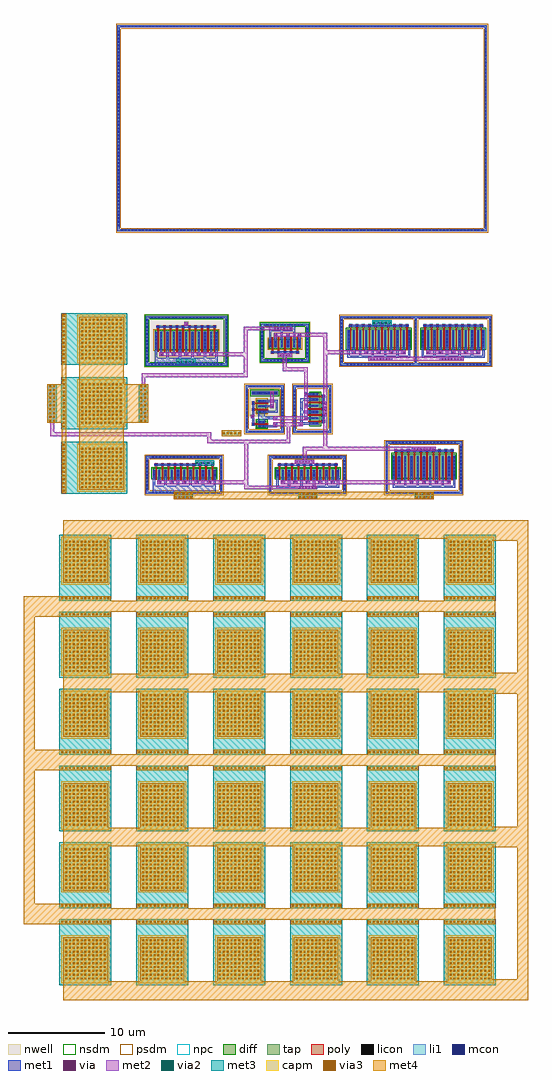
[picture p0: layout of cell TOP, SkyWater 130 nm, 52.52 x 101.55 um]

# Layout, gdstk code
from math import pi, radians
import gdstk
lib = gdstk.Library(unit=1e-6, precision=1e-09)
def R(c, l, rs):  # rectangles x0, y0, x1, y1
    for r in rs: c.add(gdstk.rectangle(r[:2], r[2:], *l))
def A(c, l, x, y, w, h, nx, ny, dx, dy):  # array of equal rectangles
    R(c, l, [(x+i*dx, y+j*dy, x+i*dx+w, y+j*dy+h) for i in range(nx) for j in range(ny)])
def P(c, l, *ps):  # polygons
    for p in ps: c.add(gdstk.Polygon(p, *l))
nwell = (64, 20)
diff = (65, 20)
tap = (65, 44)
poly = (66, 20)
licon = (66, 44)
li1 = (67, 20)
mcon = (67, 44)
met1 = (68, 20)
via = (68, 44)
met2 = (69, 20)
via2 = (69, 44)
met3 = (70, 20)
via3 = (70, 44)
met4 = (71, 20)
capm = (89, 44)
nsdm = (93, 44)
psdm = (94, 20)
npc = (95, 20)

guard_ring_gen_1 = lib.new_cell('guard_ring_gen$1')
P(guard_ring_gen_1, tap, [(-0.23,-0.23),(-0.23,7.5),(0,7.5),(0,0),(3.5,0),(3.5,7.5),(-0.23,7.5),(-0.23,7.73),(3.73,7.73),(3.73,-0.23)])
A(guard_ring_gen_1, licon, 0.225, -0.2, 0.17, 0.17, 9, 2, 0.36, 7.73)
A(guard_ring_gen_1, licon, -0.2, 0.425, 0.17, 0.17, 1, 19, 0, 0.36)
A(guard_ring_gen_1, licon, 3.53, 0.425, 0.17, 0.17, 1, 19, 0, 0.36)
P(guard_ring_gen_1, li1, [(-0.23,-0.23),(-0.23,7.5),(0,7.5),(0,0),(3.5,0),(3.5,7.5),(-0.23,7.5),(-0.23,7.73),(3.73,7.73),(3.73,-0.23)])
A(guard_ring_gen_1, mcon, 0.225, -0.2, 0.17, 0.17, 9, 2, 0.36, 7.73)
A(guard_ring_gen_1, mcon, -0.2, 0.425, 0.17, 0.17, 1, 19, 0, 0.36)
A(guard_ring_gen_1, mcon, 3.53, 0.425, 0.17, 0.17, 1, 19, 0, 0.36)
P(guard_ring_gen_1, met1, [(-0.23,-0.23),(-0.23,7.5),(0,7.5),(0,0),(3.5,0),(3.5,7.5),(-0.23,7.5),(-0.23,7.73),(3.73,7.73),(3.73,-0.23)])
P(guard_ring_gen_1, psdm, [(-0.355,-0.355),(-0.355,7.375),(0.125,7.375),(0.125,0.125),(3.375,0.125),(3.375,7.375),(-0.355,7.375),(-0.355,7.855),(3.855,7.855),(3.855,-0.355)])

pfet = lib.new_cell('pfet')
R(pfet, nwell, [(-0.305,-0.38,3.655,1.72)])
R(pfet, diff, [(0,0,3.35,1)])
A(pfet, poly, 0.3, -0.2, 0.15, 1.4, 5, 1, 0.65, 0)
A(pfet, poly, 0.24, 1.2, 0.27, 0.33, 5, 1, 0.65, 0)
A(pfet, licon, 0.615, 0.235, 0.17, 0.17, 4, 2, 0.65, 0.36)
A(pfet, licon, 0.29, 1.28, 0.17, 0.17, 5, 1, 0.65, 0)
R(pfet, licon, [(0.065,0.235,0.235,0.405), (3.115,0.235,3.285,0.405), (0.065,0.595,0.235,0.765), (3.115,0.595,3.285,0.765)])
A(pfet, li1, 0.615, 0.155, 0.17, 0.69, 4, 1, 0.65, 0)
A(pfet, li1, 0.21, 1.28, 0.33, 0.17, 5, 1, 0.65, 0)
R(pfet, li1, [(0.065,0.155,0.235,0.845), (3.115,0.155,3.285,0.845)])
A(pfet, mcon, 0.615, 0.235, 0.17, 0.17, 4, 2, 0.65, 0.36)
A(pfet, mcon, 0.29, 1.28, 0.17, 0.17, 5, 1, 0.65, 0)
R(pfet, mcon, [(0.065,0.235,0.235,0.405), (3.115,0.235,3.285,0.405), (0.065,0.595,0.235,0.765), (3.115,0.595,3.285,0.765)])
A(pfet, met1, 0.585, 0.175, 0.23, 0.65, 4, 1, 0.65, 0)
A(pfet, met1, 0.19, 1.25, 0.37, 0.23, 5, 1, 0.65, 0)
R(pfet, met1, [(0.035,0.175,0.265,0.825), (3.085,0.175,3.315,0.825)])
R(pfet, psdm, [(-0.125,-0.125,3.475,1.125)])
A(pfet, npc, 0.23, 1.19, 0.29, 0.35, 5, 1, 0.65, 0)

guard_ring_gen_2 = lib.new_cell('guard_ring_gen$2')
P(guard_ring_gen_2, tap, [(-0.23,-0.23),(-0.23,4.5),(0,4.5),(0,0),(3.5,0),(3.5,4.5),(-0.23,4.5),(-0.23,4.73),(3.73,4.73),(3.73,-0.23)])
A(guard_ring_gen_2, licon, 0.225, -0.2, 0.17, 0.17, 9, 2, 0.36, 4.73)
A(guard_ring_gen_2, licon, -0.2, 0.365, 0.17, 0.17, 1, 11, 0, 0.36)
A(guard_ring_gen_2, licon, 3.53, 0.365, 0.17, 0.17, 1, 11, 0, 0.36)
P(guard_ring_gen_2, li1, [(-0.23,-0.23),(-0.23,4.5),(0,4.5),(0,0),(3.5,0),(3.5,4.5),(-0.23,4.5),(-0.23,4.73),(3.73,4.73),(3.73,-0.23)])
A(guard_ring_gen_2, mcon, 0.225, -0.2, 0.17, 0.17, 9, 2, 0.36, 4.73)
A(guard_ring_gen_2, mcon, -0.2, 0.365, 0.17, 0.17, 1, 11, 0, 0.36)
A(guard_ring_gen_2, mcon, 3.53, 0.365, 0.17, 0.17, 1, 11, 0, 0.36)
P(guard_ring_gen_2, met1, [(-0.23,-0.23),(-0.23,4.5),(0,4.5),(0,0),(3.5,0),(3.5,4.5),(-0.23,4.5),(-0.23,4.73),(3.73,4.73),(3.73,-0.23)])
P(guard_ring_gen_2, nsdm, [(-0.355,-0.355),(-0.355,4.375),(0.125,4.375),(0.125,0.125),(3.375,0.125),(3.375,4.375),(-0.355,4.375),(-0.355,4.855),(3.855,4.855),(3.855,-0.355)])

vias_gen = lib.new_cell('vias_gen')
R(vias_gen, met1, [(0,0,0.4,0.4)])
R(vias_gen, via, [(0.125,0.125,0.275,0.275)])
R(vias_gen, met2, [(0,0,0.4,0.4)])

vias_gen_3 = lib.new_cell('vias_gen$3')
R(vias_gen_3, nwell, [(-0.18,-0.18,2.915,0.59)])
R(vias_gen_3, tap, [(0,0,2.735,0.41)])
A(vias_gen_3, licon, 0.09, 0.12, 0.17, 0.17, 8, 1, 0.34, 0)
R(vias_gen_3, li1, [(0,0,2.735,0.41)])
A(vias_gen_3, mcon, 0.2, 0.12, 0.17, 0.17, 7, 1, 0.36, 0)
R(vias_gen_3, met1, [(0,0,2.735,0.41)])
R(vias_gen_3, nsdm, [(-0.125,-0.125,2.86,0.535)])

guard_ring_gen = lib.new_cell('guard_ring_gen')
P(guard_ring_gen, tap, [(-0.23,-0.23),(-0.23,4.5),(0,4.5),(0,0),(3.5,0),(3.5,4.5),(-0.23,4.5),(-0.23,4.73),(3.73,4.73),(3.73,-0.23)])
A(guard_ring_gen, licon, 0.225, -0.2, 0.17, 0.17, 9, 2, 0.36, 4.73)
A(guard_ring_gen, licon, -0.2, 0.365, 0.17, 0.17, 1, 11, 0, 0.36)
A(guard_ring_gen, licon, 3.53, 0.365, 0.17, 0.17, 1, 11, 0, 0.36)
P(guard_ring_gen, li1, [(-0.23,-0.23),(-0.23,4.5),(0,4.5),(0,0),(3.5,0),(3.5,4.5),(-0.23,4.5),(-0.23,4.73),(3.73,4.73),(3.73,-0.23)])
A(guard_ring_gen, mcon, 0.225, -0.2, 0.17, 0.17, 9, 2, 0.36, 4.73)
A(guard_ring_gen, mcon, -0.2, 0.365, 0.17, 0.17, 1, 11, 0, 0.36)
A(guard_ring_gen, mcon, 3.53, 0.365, 0.17, 0.17, 1, 11, 0, 0.36)
P(guard_ring_gen, met1, [(-0.23,-0.23),(-0.23,4.5),(0,4.5),(0,0),(3.5,0),(3.5,4.5),(-0.23,4.5),(-0.23,4.73),(3.73,4.73),(3.73,-0.23)])
P(guard_ring_gen, psdm, [(-0.355,-0.355),(-0.355,4.375),(0.125,4.375),(0.125,0.125),(3.375,0.125),(3.375,4.375),(-0.355,4.375),(-0.355,4.855),(3.855,4.855),(3.855,-0.355)])

guard_ring_gen_8 = lib.new_cell('guard_ring_gen$8')
P(guard_ring_gen_8, tap, [(-0.23,-0.23),(-0.23,21),(0,21),(0,0),(38,0),(38,21),(-0.23,21),(-0.23,21.23),(38.23,21.23),(38.23,-0.23)])
A(guard_ring_gen_8, licon, 0.195, -0.2, 0.17, 0.17, 105, 2, 0.36, 21.23)
A(guard_ring_gen_8, licon, -0.2, 0.335, 0.17, 0.17, 1, 57, 0, 0.36)
A(guard_ring_gen_8, licon, 38.03, 0.335, 0.17, 0.17, 1, 57, 0, 0.36)
P(guard_ring_gen_8, li1, [(-0.23,-0.23),(-0.23,21),(0,21),(0,0),(38,0),(38,21),(-0.23,21),(-0.23,21.23),(38.23,21.23),(38.23,-0.23)])
A(guard_ring_gen_8, mcon, 0.195, -0.2, 0.17, 0.17, 105, 2, 0.36, 21.23)
A(guard_ring_gen_8, mcon, -0.2, 0.335, 0.17, 0.17, 1, 57, 0, 0.36)
A(guard_ring_gen_8, mcon, 38.03, 0.335, 0.17, 0.17, 1, 57, 0, 0.36)
P(guard_ring_gen_8, met1, [(-0.23,-0.23),(-0.23,21),(0,21),(0,0),(38,0),(38,21),(-0.23,21),(-0.23,21.23),(38.23,21.23),(38.23,-0.23)])
P(guard_ring_gen_8, psdm, [(-0.355,-0.355),(-0.355,20.875),(0.125,20.875),(0.125,0.125),(37.875,0.125),(37.875,20.875),(-0.355,20.875),(-0.355,21.355),(38.355,21.355),(38.355,-0.355)])

nfet_5 = lib.new_cell('nfet$5')
R(nfet_5, diff, [(0,0,6.6,2)])
A(nfet_5, poly, 0.3, -0.2, 0.15, 2.4, 10, 1, 0.65, 0)
A(nfet_5, poly, 0.24, 2.2, 0.27, 0.33, 10, 1, 0.65, 0)
A(nfet_5, licon, 0.065, 0.195, 0.17, 0.17, 1, 5, 0, 0.36)
A(nfet_5, licon, 0.615, 0.195, 0.17, 0.17, 9, 5, 0.65, 0.36)
A(nfet_5, licon, 6.365, 0.195, 0.17, 0.17, 1, 5, 0, 0.36)
A(nfet_5, licon, 0.29, 2.28, 0.17, 0.17, 10, 1, 0.65, 0)
A(nfet_5, li1, 0.615, 0.115, 0.17, 1.77, 9, 1, 0.65, 0)
A(nfet_5, li1, 0.21, 2.28, 0.33, 0.17, 10, 1, 0.65, 0)
R(nfet_5, li1, [(0.065,0.115,0.235,1.885), (6.365,0.115,6.535,1.885)])
A(nfet_5, mcon, 0.065, 0.195, 0.17, 0.17, 1, 5, 0, 0.36)
A(nfet_5, mcon, 0.615, 0.195, 0.17, 0.17, 9, 5, 0.65, 0.36)
A(nfet_5, mcon, 6.365, 0.195, 0.17, 0.17, 1, 5, 0, 0.36)
A(nfet_5, mcon, 0.29, 2.28, 0.17, 0.17, 10, 1, 0.65, 0)
A(nfet_5, met1, 0.585, 0.135, 0.23, 1.73, 9, 1, 0.65, 0)
A(nfet_5, met1, 0.19, 2.25, 0.37, 0.23, 10, 1, 0.65, 0)
R(nfet_5, met1, [(0.035,0.135,0.265,1.865), (6.335,0.135,6.565,1.865)])
R(nfet_5, nsdm, [(-0.125,-0.125,6.725,2.125)])
A(nfet_5, npc, 0.23, 2.19, 0.29, 0.35, 10, 1, 0.65, 0)

nfet_4 = lib.new_cell('nfet$4')
R(nfet_4, diff, [(0,0,6.6,2.5)])
A(nfet_4, poly, 0.3, -0.2, 0.15, 2.9, 10, 1, 0.65, 0)
A(nfet_4, poly, 0.24, 2.7, 0.27, 0.33, 10, 1, 0.65, 0)
A(nfet_4, licon, 0.065, 0.265, 0.17, 0.17, 1, 6, 0, 0.36)
A(nfet_4, licon, 0.615, 0.265, 0.17, 0.17, 9, 6, 0.65, 0.36)
A(nfet_4, licon, 6.365, 0.265, 0.17, 0.17, 1, 6, 0, 0.36)
A(nfet_4, licon, 0.29, 2.78, 0.17, 0.17, 10, 1, 0.65, 0)
A(nfet_4, li1, 0.615, 0.185, 0.17, 2.13, 9, 1, 0.65, 0)
A(nfet_4, li1, 0.21, 2.78, 0.33, 0.17, 10, 1, 0.65, 0)
R(nfet_4, li1, [(0.065,0.185,0.235,2.315), (6.365,0.185,6.535,2.315)])
A(nfet_4, mcon, 0.065, 0.265, 0.17, 0.17, 1, 6, 0, 0.36)
A(nfet_4, mcon, 0.615, 0.265, 0.17, 0.17, 9, 6, 0.65, 0.36)
A(nfet_4, mcon, 6.365, 0.265, 0.17, 0.17, 1, 6, 0, 0.36)
A(nfet_4, mcon, 0.29, 2.78, 0.17, 0.17, 10, 1, 0.65, 0)
A(nfet_4, met1, 0.585, 0.205, 0.23, 2.09, 9, 1, 0.65, 0)
A(nfet_4, met1, 0.19, 2.75, 0.37, 0.23, 10, 1, 0.65, 0)
R(nfet_4, met1, [(0.035,0.205,0.265,2.295), (6.335,0.205,6.565,2.295)])
R(nfet_4, nsdm, [(-0.125,-0.125,6.725,2.625)])
A(nfet_4, npc, 0.23, 2.69, 0.29, 0.35, 10, 1, 0.65, 0)

guard_ring_gen_4 = lib.new_cell('guard_ring_gen$4')
P(guard_ring_gen_4, tap, [(-0.23,-0.23),(-0.23,7.5),(0,7.5),(0,0),(5,0),(5,7.5),(-0.23,7.5),(-0.23,7.73),(5.23,7.73),(5.23,-0.23)])
A(guard_ring_gen_4, licon, 0.255, -0.2, 0.17, 0.17, 13, 2, 0.36, 7.73)
A(guard_ring_gen_4, licon, -0.2, 0.425, 0.17, 0.17, 1, 19, 0, 0.36)
A(guard_ring_gen_4, licon, 5.03, 0.425, 0.17, 0.17, 1, 19, 0, 0.36)
P(guard_ring_gen_4, li1, [(-0.23,-0.23),(-0.23,7.5),(0,7.5),(0,0),(5,0),(5,7.5),(-0.23,7.5),(-0.23,7.73),(5.23,7.73),(5.23,-0.23)])
A(guard_ring_gen_4, mcon, 0.255, -0.2, 0.17, 0.17, 13, 2, 0.36, 7.73)
A(guard_ring_gen_4, mcon, -0.2, 0.425, 0.17, 0.17, 1, 19, 0, 0.36)
A(guard_ring_gen_4, mcon, 5.03, 0.425, 0.17, 0.17, 1, 19, 0, 0.36)
P(guard_ring_gen_4, met1, [(-0.23,-0.23),(-0.23,7.5),(0,7.5),(0,0),(5,0),(5,7.5),(-0.23,7.5),(-0.23,7.73),(5.23,7.73),(5.23,-0.23)])
P(guard_ring_gen_4, psdm, [(-0.355,-0.355),(-0.355,7.375),(0.125,7.375),(0.125,0.125),(4.875,0.125),(4.875,7.375),(-0.355,7.375),(-0.355,7.855),(5.355,7.855),(5.355,-0.355)])

vias_gen_2 = lib.new_cell('vias_gen$2')
R(vias_gen_2, met1, [(0,0,2,0.4)])
A(vias_gen_2, via, 0.125, 0.125, 0.15, 0.15, 6, 1, 0.32, 0)
R(vias_gen_2, met2, [(0,0,2,0.4)])

nfet = lib.new_cell('nfet')
R(nfet, diff, [(0,0,3.35,1)])
A(nfet, poly, 0.3, -0.2, 0.15, 1.4, 5, 1, 0.65, 0)
A(nfet, poly, 0.24, 1.2, 0.27, 0.33, 5, 1, 0.65, 0)
A(nfet, licon, 0.615, 0.235, 0.17, 0.17, 4, 2, 0.65, 0.36)
A(nfet, licon, 0.29, 1.28, 0.17, 0.17, 5, 1, 0.65, 0)
R(nfet, licon, [(0.065,0.235,0.235,0.405), (3.115,0.235,3.285,0.405), (0.065,0.595,0.235,0.765), (3.115,0.595,3.285,0.765)])
A(nfet, li1, 0.615, 0.155, 0.17, 0.69, 4, 1, 0.65, 0)
A(nfet, li1, 0.21, 1.28, 0.33, 0.17, 5, 1, 0.65, 0)
R(nfet, li1, [(0.065,0.155,0.235,0.845), (3.115,0.155,3.285,0.845)])
A(nfet, mcon, 0.615, 0.235, 0.17, 0.17, 4, 2, 0.65, 0.36)
A(nfet, mcon, 0.29, 1.28, 0.17, 0.17, 5, 1, 0.65, 0)
R(nfet, mcon, [(0.065,0.235,0.235,0.405), (3.115,0.235,3.285,0.405), (0.065,0.595,0.235,0.765), (3.115,0.595,3.285,0.765)])
A(nfet, met1, 0.585, 0.175, 0.23, 0.65, 4, 1, 0.65, 0)
A(nfet, met1, 0.19, 1.25, 0.37, 0.23, 5, 1, 0.65, 0)
R(nfet, met1, [(0.035,0.175,0.265,0.825), (3.085,0.175,3.315,0.825)])
R(nfet, nsdm, [(-0.125,-0.125,3.475,1.125)])
A(nfet, npc, 0.23, 1.19, 0.29, 0.35, 5, 1, 0.65, 0)

guard_ring_gen_5 = lib.new_cell('guard_ring_gen$5')
P(guard_ring_gen_5, tap, [(-0.23,-0.23),(-0.23,7.5),(0,7.5),(0,0),(4.7,0),(4.7,7.5),(-0.23,7.5),(-0.23,7.73),(4.93,7.73),(4.93,-0.23)])
A(guard_ring_gen_5, licon, 0.105, -0.2, 0.17, 0.17, 13, 2, 0.36, 7.73)
A(guard_ring_gen_5, licon, -0.2, 0.425, 0.17, 0.17, 1, 19, 0, 0.36)
A(guard_ring_gen_5, licon, 4.73, 0.425, 0.17, 0.17, 1, 19, 0, 0.36)
P(guard_ring_gen_5, li1, [(-0.23,-0.23),(-0.23,7.5),(0,7.5),(0,0),(4.7,0),(4.7,7.5),(-0.23,7.5),(-0.23,7.73),(4.93,7.73),(4.93,-0.23)])
A(guard_ring_gen_5, mcon, 0.105, -0.2, 0.17, 0.17, 13, 2, 0.36, 7.73)
A(guard_ring_gen_5, mcon, -0.2, 0.425, 0.17, 0.17, 1, 19, 0, 0.36)
A(guard_ring_gen_5, mcon, 4.73, 0.425, 0.17, 0.17, 1, 19, 0, 0.36)
P(guard_ring_gen_5, met1, [(-0.23,-0.23),(-0.23,7.5),(0,7.5),(0,0),(4.7,0),(4.7,7.5),(-0.23,7.5),(-0.23,7.73),(4.93,7.73),(4.93,-0.23)])
P(guard_ring_gen_5, psdm, [(-0.355,-0.355),(-0.355,7.375),(0.125,7.375),(0.125,0.125),(4.575,0.125),(4.575,7.375),(-0.355,7.375),(-0.355,7.855),(5.055,7.855),(5.055,-0.355)])

vias_gen_4 = lib.new_cell('vias_gen$4')
R(vias_gen_4, met1, [(0,0,1.5,0.4)])
A(vias_gen_4, via, 0.195, 0.125, 0.15, 0.15, 4, 1, 0.32, 0)
R(vias_gen_4, met2, [(0,0,1.5,0.4)])

vias_gen_5 = lib.new_cell('vias_gen$5')
R(vias_gen_5, met1, [(0,0,2.5,0.4)])
A(vias_gen_5, via, 0.215, 0.125, 0.15, 0.15, 7, 1, 0.32, 0)
R(vias_gen_5, met2, [(0,0,2.5,0.4)])

nfet_3 = lib.new_cell('nfet$3')
R(nfet_3, diff, [(0,0,6.6,1)])
A(nfet_3, poly, 0.3, -0.2, 0.15, 1.4, 10, 1, 0.65, 0)
A(nfet_3, poly, 0.24, 1.2, 0.27, 0.33, 10, 1, 0.65, 0)
A(nfet_3, licon, 0.615, 0.235, 0.17, 0.17, 9, 2, 0.65, 0.36)
A(nfet_3, licon, 0.29, 1.28, 0.17, 0.17, 10, 1, 0.65, 0)
R(nfet_3, licon, [(0.065,0.235,0.235,0.405), (6.365,0.235,6.535,0.405), (0.065,0.595,0.235,0.765), (6.365,0.595,6.535,0.765)])
A(nfet_3, li1, 0.615, 0.155, 0.17, 0.69, 9, 1, 0.65, 0)
A(nfet_3, li1, 0.21, 1.28, 0.33, 0.17, 10, 1, 0.65, 0)
R(nfet_3, li1, [(0.065,0.155,0.235,0.845), (6.365,0.155,6.535,0.845)])
A(nfet_3, mcon, 0.615, 0.235, 0.17, 0.17, 9, 2, 0.65, 0.36)
A(nfet_3, mcon, 0.29, 1.28, 0.17, 0.17, 10, 1, 0.65, 0)
R(nfet_3, mcon, [(0.065,0.235,0.235,0.405), (6.365,0.235,6.535,0.405), (0.065,0.595,0.235,0.765), (6.365,0.595,6.535,0.765)])
A(nfet_3, met1, 0.585, 0.175, 0.23, 0.65, 9, 1, 0.65, 0)
A(nfet_3, met1, 0.19, 1.25, 0.37, 0.23, 10, 1, 0.65, 0)
R(nfet_3, met1, [(0.035,0.175,0.265,0.825), (6.335,0.175,6.565,0.825)])
R(nfet_3, nsdm, [(-0.125,-0.125,6.725,1.125)])
A(nfet_3, npc, 0.23, 1.19, 0.29, 0.35, 10, 1, 0.65, 0)

vias_gen_8 = lib.new_cell('vias_gen$8')
R(vias_gen_8, met1, [(0,0,2,0.6)])
A(vias_gen_8, via, 0.125, 0.225, 0.15, 0.15, 6, 1, 0.32, 0)
R(vias_gen_8, met2, [(0,0,2,0.6)])
A(vias_gen_8, via2, 0.1, 0.2, 0.2, 0.2, 5, 1, 0.4, 0)
R(vias_gen_8, met3, [(0,0,2,0.6)])

vias_gen_10 = lib.new_cell('vias_gen$10')
R(vias_gen_10, met1, [(0,0,2,0.8)])
A(vias_gen_10, via, 0.125, 0.165, 0.15, 0.15, 6, 2, 0.32, 0.32)
R(vias_gen_10, met2, [(0,0,2,0.8)])
A(vias_gen_10, via2, 0.1, 0.1, 0.2, 0.2, 5, 2, 0.4, 0.4)
R(vias_gen_10, met3, [(0,0,2,0.8)])
A(vias_gen_10, via3, 0.1, 0.1, 0.2, 0.2, 5, 2, 0.4, 0.4)
R(vias_gen_10, met4, [(0,0,2,0.8)])

mim_cap_3 = lib.new_cell('mim_cap$3')
R(mim_cap_3, met3, [(-0.2,-0.2,6.66,5.2)])
A(mim_cap_3, via3, 6.3, 0, 0.2, 0.2, 1, 13, 0, 0.4)
A(mim_cap_3, via3, 0.4, 0.4, 0.2, 0.2, 11, 11, 0.4, 0.4)
R(mim_cap_3, met4, [(6.16,-0.14,6.64,5.14), (0.195,0.195,4.805,4.805)])
R(mim_cap_3, capm, [(0,0,5,5)])

vias_gen_6 = lib.new_cell('vias_gen$6')
R(vias_gen_6, met2, [(0,0,4,1)])
A(vias_gen_6, via2, 0.1, 0.2, 0.2, 0.2, 10, 2, 0.4, 0.4)
R(vias_gen_6, met3, [(0,0,4,1)])
A(vias_gen_6, via3, 0.1, 0.2, 0.2, 0.2, 10, 2, 0.4, 0.4)
R(vias_gen_6, met4, [(0,0,4,1)])

pfet_1 = lib.new_cell('pfet$1')
R(pfet_1, nwell, [(-0.305,-0.38,6.905,2.72)])
R(pfet_1, diff, [(0,0,6.6,2)])
A(pfet_1, poly, 0.3, -0.2, 0.15, 2.4, 10, 1, 0.65, 0)
A(pfet_1, poly, 0.24, 2.2, 0.27, 0.33, 10, 1, 0.65, 0)
A(pfet_1, licon, 0.065, 0.195, 0.17, 0.17, 1, 5, 0, 0.36)
A(pfet_1, licon, 0.615, 0.195, 0.17, 0.17, 9, 5, 0.65, 0.36)
A(pfet_1, licon, 6.365, 0.195, 0.17, 0.17, 1, 5, 0, 0.36)
A(pfet_1, licon, 0.29, 2.28, 0.17, 0.17, 10, 1, 0.65, 0)
A(pfet_1, li1, 0.615, 0.115, 0.17, 1.77, 9, 1, 0.65, 0)
A(pfet_1, li1, 0.21, 2.28, 0.33, 0.17, 10, 1, 0.65, 0)
R(pfet_1, li1, [(0.065,0.115,0.235,1.885), (6.365,0.115,6.535,1.885)])
A(pfet_1, mcon, 0.065, 0.195, 0.17, 0.17, 1, 5, 0, 0.36)
A(pfet_1, mcon, 0.615, 0.195, 0.17, 0.17, 9, 5, 0.65, 0.36)
A(pfet_1, mcon, 6.365, 0.195, 0.17, 0.17, 1, 5, 0, 0.36)
A(pfet_1, mcon, 0.29, 2.28, 0.17, 0.17, 10, 1, 0.65, 0)
A(pfet_1, met1, 0.585, 0.135, 0.23, 1.73, 9, 1, 0.65, 0)
A(pfet_1, met1, 0.19, 2.25, 0.37, 0.23, 10, 1, 0.65, 0)
R(pfet_1, met1, [(0.035,0.135,0.265,1.865), (6.335,0.135,6.565,1.865)])
R(pfet_1, psdm, [(-0.125,-0.125,6.725,2.125)])
A(pfet_1, npc, 0.23, 2.19, 0.29, 0.35, 10, 1, 0.65, 0)

guard_ring_gen_3 = lib.new_cell('guard_ring_gen$3')
P(guard_ring_gen_3, tap, [(-0.23,-0.23),(-0.23,8),(0,8),(0,0),(4.7,0),(4.7,8),(-0.23,8),(-0.23,8.23),(4.93,8.23),(4.93,-0.23)])
A(guard_ring_gen_3, licon, 0.105, -0.2, 0.17, 0.17, 13, 2, 0.36, 8.23)
A(guard_ring_gen_3, licon, -0.2, 0.315, 0.17, 0.17, 1, 21, 0, 0.36)
A(guard_ring_gen_3, licon, 4.73, 0.315, 0.17, 0.17, 1, 21, 0, 0.36)
P(guard_ring_gen_3, li1, [(-0.23,-0.23),(-0.23,8),(0,8),(0,0),(4.7,0),(4.7,8),(-0.23,8),(-0.23,8.23),(4.93,8.23),(4.93,-0.23)])
A(guard_ring_gen_3, mcon, 0.105, -0.2, 0.17, 0.17, 13, 2, 0.36, 8.23)
A(guard_ring_gen_3, mcon, -0.2, 0.315, 0.17, 0.17, 1, 21, 0, 0.36)
A(guard_ring_gen_3, mcon, 4.73, 0.315, 0.17, 0.17, 1, 21, 0, 0.36)
P(guard_ring_gen_3, met1, [(-0.23,-0.23),(-0.23,8),(0,8),(0,0),(4.7,0),(4.7,8),(-0.23,8),(-0.23,8.23),(4.93,8.23),(4.93,-0.23)])
P(guard_ring_gen_3, nsdm, [(-0.355,-0.355),(-0.355,7.875),(0.125,7.875),(0.125,0.125),(4.575,0.125),(4.575,7.875),(-0.355,7.875),(-0.355,8.355),(5.055,8.355),(5.055,-0.355)])

pfet_3 = lib.new_cell('pfet$3')
R(pfet_3, nwell, [(-0.305,-0.38,1.705,1.72)])
R(pfet_3, diff, [(0,0,1.4,1)])
R(pfet_3, poly, [(0.3,-0.2,0.45,1.2), (0.95,-0.2,1.1,1.2), (0.24,1.2,0.51,1.53), (0.89,1.2,1.16,1.53)])
A(pfet_3, licon, 0.065, 0.235, 0.17, 0.17, 3, 2, 0.55, 0.36)
R(pfet_3, licon, [(0.29,1.28,0.46,1.45), (0.94,1.28,1.11,1.45)])
A(pfet_3, li1, 0.065, 0.155, 0.17, 0.69, 3, 1, 0.55, 0)
R(pfet_3, li1, [(0.21,1.28,0.54,1.45), (0.86,1.28,1.19,1.45)])
A(pfet_3, mcon, 0.065, 0.235, 0.17, 0.17, 3, 2, 0.55, 0.36)
R(pfet_3, mcon, [(0.29,1.28,0.46,1.45), (0.94,1.28,1.11,1.45)])
A(pfet_3, met1, 0.035, 0.175, 0.23, 0.65, 3, 1, 0.55, 0)
R(pfet_3, met1, [(0.19,1.25,0.56,1.48), (0.84,1.25,1.21,1.48)])
R(pfet_3, psdm, [(-0.125,-0.125,1.525,1.125)])
R(pfet_3, npc, [(0.23,1.19,0.52,1.54), (0.88,1.19,1.17,1.54)])

nfet_1 = lib.new_cell('nfet$1')
R(nfet_1, diff, [(0,0,0.75,1)])
R(nfet_1, poly, [(0.3,-0.2,0.45,1.2), (0.24,1.2,0.51,1.53)])
R(nfet_1, licon, [(0.065,0.235,0.235,0.405), (0.515,0.235,0.685,0.405), (0.065,0.595,0.235,0.765), (0.515,0.595,0.685,0.765), (0.29,1.28,0.46,1.45)])
R(nfet_1, li1, [(0.065,0.155,0.235,0.845), (0.515,0.155,0.685,0.845), (0.21,1.28,0.54,1.45)])
R(nfet_1, mcon, [(0.065,0.235,0.235,0.405), (0.515,0.235,0.685,0.405), (0.065,0.595,0.235,0.765), (0.515,0.595,0.685,0.765), (0.29,1.28,0.46,1.45)])
R(nfet_1, met1, [(0.035,0.175,0.265,0.825), (0.485,0.175,0.715,0.825), (0.19,1.25,0.56,1.48)])
R(nfet_1, nsdm, [(-0.125,-0.125,0.875,1.125)])
R(nfet_1, npc, [(0.23,1.19,0.52,1.54)])

vias_gen_11 = lib.new_cell('vias_gen$11')
R(vias_gen_11, met3, [(0,0,2,0.6)])
A(vias_gen_11, via3, 0.1, 0.2, 0.2, 0.2, 5, 1, 0.4, 0)
R(vias_gen_11, met4, [(0,0,2,0.6)])

top = lib.new_cell('TOP')
R(top, nwell, [(3.75,-1.05,6.845,1.73), (-7.23,4.03,1.56,9.52), (4.755,4.46,10.055,8.75)])
A(top, met1, -5.135, -8.51, 0.23, 1.2, 4, 1, 1.3, 0)
A(top, met1, 7.7, -8.51, 0.23, 1.2, 4, 1, 1.3, 0)
A(top, met1, 19.795, -8.51, 0.23, 1.2, 4, 1, 1.3, 0)
A(top, met1, -5.785, -7.73, 0.23, 0.42, 5, 1, 1.3, 0)
A(top, met1, 7.05, -7.73, 0.23, 0.42, 5, 1, 1.3, 0)
A(top, met1, 19.145, -7.73, 0.23, 0.42, 5, 1, 1.3, 0)
A(top, met1, -4.93, 4.795, 0.23, 1.2, 4, 1, 1.3, 0)
A(top, met1, 15.105, 4.995, 0.23, 1.2, 4, 1, 1.3, 0)
A(top, met1, 22.835, 4.995, 0.23, 1.2, 4, 1, 1.3, 0)
A(top, met1, -5.58, 5.575, 0.23, 0.42, 5, 1, 1.3, 0)
A(top, met1, 14.455, 5.775, 0.23, 0.42, 5, 1, 1.3, 0)
A(top, met1, 22.185, 5.775, 0.23, 0.42, 5, 1, 1.3, 0)
R(top, met1, [(-6.335,-9.15,0.195,-8.51), (-6.335,-8.51,0.195,-8.28), (-6.335,-8.51,-6.105,-7.31), (-6.335,-8.51,-4.905,-8.28), (-0.035,-8.51,0.195,-7.31), (6.5,-8.51,13.03,-8.28), (6.5,-8.51,6.73,-7.31), (6.5,-8.51,7.93,-8.28), (12.8,-8.51,13.03,-7.31), (18.595,-8.51,25.125,-8.28), (18.595,-8.51,18.825,-7.31), (18.595,-8.51,20.025,-8.28), (24.895,-8.51,25.125,-7.31), (-6.18,-6.235,0.04,-6.005), (6.655,-6.235,12.875,-6.005), (18.75,-4.765,24.97,-4.535), (4.645,-2.23,6.19,-2), (6.19,-2.23,6.59,-2), (9.01,-1.945,9.24,0.785), (9.01,-1.945,10.21,-1.715), (11.285,-1.79,11.515,1.18), (3.99,-1.705,4.22,-0.555), (4.645,-1.55,5.295,-0.71), (9.79,-1.395,10.21,-1.165), (4.645,-1.375,6.19,-1.145), (9.01,-0.745,10.21,-0.515), (5.295,-0.71,6.435,-0.48), (6.435,-0.71,6.665,0.62), (3.99,-0.185,4.22,0.095), (5.295,-0.16,5.85,0.07), (9.79,-0.095,10.21,0.135), (5.295,0.39,6.435,0.62), (9.01,0.555,10.21,0.785), (9.79,1.105,10.21,1.335), (-6.13,4.195,0.4,4.795), (-6.13,4.795,0.4,5.025), (-6.13,4.795,-5.9,5.995), (0.17,4.795,0.4,5.995), (13.905,4.995,20.435,5.225), (13.905,4.995,14.135,6.195), (13.905,4.995,15.335,5.225), (20.205,4.995,20.435,6.195), (21.635,4.995,28.165,5.225), (21.635,4.995,21.865,6.195), (21.635,4.995,23.065,5.225), (27.935,4.995,28.165,6.195), (5.9,5.475,8.87,5.705), (5.745,6.78,5.975,7.98), (6.295,6.78,6.525,7.2), (6.945,6.78,7.175,7.98), (7.595,6.78,7.825,7.2), (8.245,6.78,8.475,7.98), (8.795,6.78,9.025,7.2), (5.745,7.75,8.475,7.98), (5.745,7.98,8.475,8.57), (-5.975,8.11,0.245,8.34), (14.06,8.24,20.28,8.47), (21.79,8.24,28.01,8.47)])
R(top, met2, [(3.17,-8.68,8.77,-8.28), (3.17,-8.68,8.77,-8.28), (3.17,-8.68,3.57,-7.73), (-5.87,-8.13,-0.27,-7.73), (-0.27,-8.13,3.57,-7.73), (6.965,-8.13,12.565,-7.73), (12.565,-8.13,15.965,-7.73), (15.565,-8.13,19.06,-7.73), (19.06,-8.13,24.66,-7.73), (3.17,-7.73,3.57,-3.5), (9.245,-5.605,9.645,-4.265), (9.245,-4.665,11.8,-4.265), (11.4,-4.665,11.8,-1.055), (11.8,-4.665,13.775,-4.265), (13.775,-4.665,16.33,-4.265), (16.33,-4.665,20.595,-4.265), (-0.69,-3.9,-0.29,-2.755), (-0.29,-3.9,4.505,-3.5), (3.17,-3.9,7.965,-3.5), (7.565,-3.9,7.965,-1.715), (-17.015,-3.155,-0.29,-2.755), (-17.015,-3.155,-16.615,-1.74), (6.59,-2.115,8.84,-1.715), (6.59,-1.48,9.39,-1.08), (9.39,-1.48,9.79,1.42), (5.85,0.155,6.25,1.14), (11.4,0.445,11.8,5.375), (9.39,1.42,9.79,4), (-7.515,2.26,-7.115,3.39), (-7.515,2.99,-0.29,3.39), (-0.29,2.99,3.515,3.39), (3.115,2.99,3.515,7.6), (7.185,3.6,9.79,4), (7.185,3.6,7.585,5.075), (18.57,4.7,23.5,5.1), (-5.665,5.175,-0.065,5.575), (-1.28,5.175,3.515,5.575), (11.4,5.375,14.37,5.775), (11.4,5.375,11.8,7.6), (14.37,5.375,19.97,5.775), (22.1,5.375,27.7,5.775), (6.21,7.2,9.11,7.6), (9.11,7.2,11.4,7.6), (3.115,7.6,3.515,8.255), (3.115,7.855,7.91,8.255)])
A(top, met4, -15.67, -61.81, 44.61, 1.93, 1, 4, 0, 16)
A(top, met4, -18.615, -53.915, 2.61, 2.14, 1, 3, 0, 16)
A(top, met4, -16.005, -53.435, 45.28, 1.18, 1, 3, 0, 16)
R(top, met4, [(28.94,-61.81,31.55,-59.67), (31.55,-61.81,32.73,-11.88), (-19.795,-53.915,-18.615,-19.775), (28.94,-45.925,31.55,-43.785), (28.94,-29.925,31.55,-27.785), (-16.005,-21.435,29.275,-20.255), (28.94,-14.02,31.55,-11.88), (-4.17,-9.72,10.765,-8.92), (10.765,-9.72,22.905,-8.92), (-14.005,-4.13,-9.395,-2.04), (-15.84,-3.795,-15.36,-2.375), (-16.33,-1.74,-15.84,2.26), (-9.395,-1.74,-7.835,2.26), (-14.005,2.57,-9.395,4.66), (-15.84,2.905,-15.36,4.325)])
top.add(gdstk.Reference(guard_ring_gen_1, (5.985,-5.42), rotation=3*pi/2))
top.add(gdstk.Reference(pfet, (5.71,6.955), x_reflection=True))
top.add(gdstk.Reference(guard_ring_gen_2, (5.135,4.84), rotation=pi/2, x_reflection=True))
top.add(gdstk.Reference(vias_gen, (5.85,1.54), x_reflection=True))
top.add(gdstk.Reference(vias_gen_3, (3.93,1.55), x_reflection=True))
top.add(gdstk.Reference(guard_ring_gen, (3.525,1.93), x_reflection=True))
top.add(gdstk.Reference(vias_gen, (5.85,0.155), x_reflection=True))
top.add(gdstk.Reference(guard_ring_gen_8, (-9.815,18.385)))
top.add(gdstk.Reference(vias_gen, (25.1,5.775), rotation=pi))
top.add(gdstk.Reference(vias_gen, (27.7,5.775), rotation=pi))
top.add(gdstk.Reference(nfet_5, (21.6,5.99)))
top.add(gdstk.Reference(vias_gen, (19.46,-7.73), rotation=pi))
top.add(gdstk.Reference(vias_gen, (23.36,-7.73), rotation=pi))
top.add(gdstk.Reference(vias_gen, (22.06,-7.73), rotation=pi))
top.add(gdstk.Reference(vias_gen, (24.66,-7.73), rotation=pi))
top.add(gdstk.Reference(nfet_4, (18.56,-7.515)))
top.add(gdstk.Reference(guard_ring_gen_4, (18.105,-3.92), rotation=3*pi/2))
top.add(gdstk.Reference(vias_gen, (12.565,-7.73), rotation=pi))
top.add(gdstk.Reference(vias_gen, (9.965,-7.73), rotation=pi))
top.add(gdstk.Reference(vias_gen, (11.265,-7.73), rotation=pi))
top.add(gdstk.Reference(vias_gen_2, (10.77,-8.28), rotation=pi))
top.add(gdstk.Reference(guard_ring_gen, (12.01,-2.565), rotation=pi, x_reflection=True))
top.add(gdstk.Reference(vias_gen, (9.79,1.42), rotation=3*pi/2, x_reflection=True))
top.add(gdstk.Reference(vias_gen, (9.79,0.22), rotation=3*pi/2, x_reflection=True))
top.add(gdstk.Reference(vias_gen, (9.79,-1.08), rotation=3*pi/2, x_reflection=True))
top.add(gdstk.Reference(nfet, (10.035,-1.98), rotation=pi/2, x_reflection=True))
top.add(gdstk.Reference(vias_gen, (19.97,5.775), rotation=pi))
top.add(gdstk.Reference(vias_gen, (8.84,-1.715), x_reflection=True))
top.add(gdstk.Reference(vias_gen, (8.665,-7.73), rotation=pi))
top.add(gdstk.Reference(guard_ring_gen_5, (21.135,9.125), rotation=3*pi/2))
top.add(gdstk.Reference(nfet_5, (13.87,5.99)))
top.add(gdstk.Reference(vias_gen_2, (10.44,-5.605), rotation=pi))
top.add(gdstk.Reference(vias_gen_4, (11.4,-1.055), rotation=pi/2, x_reflection=True))
top.add(gdstk.Reference(vias_gen_5, (23.095,-4.265), rotation=pi))
top.add(gdstk.Reference(vias_gen, (20.76,-7.73), rotation=pi))
top.add(gdstk.Reference(vias_gen_5, (18.57,4.7), rotation=pi, x_reflection=True))
top.add(gdstk.Reference(vias_gen_5, (26,4.7), rotation=pi, x_reflection=True))
top.add(gdstk.Reference(guard_ring_gen_5, (13.405,9.125), rotation=3*pi/2))
top.add(gdstk.Reference(vias_gen, (23.8,5.775), rotation=pi))
top.add(gdstk.Reference(vias_gen, (9.11,7.2), rotation=pi, x_reflection=True))
top.add(gdstk.Reference(vias_gen, (22.5,5.775), rotation=pi))
top.add(gdstk.Reference(vias_gen, (16.07,5.775), rotation=pi))
top.add(gdstk.Reference(vias_gen, (14.77,5.775), rotation=pi))
top.add(gdstk.Reference(vias_gen, (18.67,5.775), rotation=pi))
top.add(gdstk.Reference(vias_gen, (17.37,5.775), rotation=pi))
top.add(gdstk.Reference(nfet_3, (6.465,-7.485)))
top.add(gdstk.Reference(vias_gen_2, (8.155,7.855), rotation=pi, x_reflection=True))
top.add(gdstk.Reference(vias_gen, (7.365,-7.73), rotation=pi))
top.add(gdstk.Reference(vias_gen, (7.91,7.2), rotation=pi, x_reflection=True))
top.add(gdstk.Reference(vias_gen, (6.19,-1.715), x_reflection=True))
top.add(gdstk.Reference(vias_gen, (6.19,-1.08), x_reflection=True))
top.add(gdstk.Reference(vias_gen_4, (6.645,5.475), x_reflection=True))
top.add(gdstk.Reference(vias_gen, (6.61,7.2), rotation=pi, x_reflection=True))
top.add(gdstk.Reference(vias_gen, (26.4,5.775), rotation=pi))
top.add(gdstk.Reference(vias_gen_8, (18.505,8.935), rotation=pi))
top.add(gdstk.Reference(vias_gen_10, (10.765,-8.92), rotation=pi))
top.add(gdstk.Reference(vias_gen_10, (22.905,-8.92), rotation=pi))
top.add(gdstk.Reference(vias_gen, (3.82,-0.895), x_reflection=True))
top.add(gdstk.Reference(mim_cap_3, (-9.2,9.465), rotation=pi))
top.add(gdstk.Reference(vias_gen, (-4.17,-7.73), rotation=pi))
top.add(gdstk.Reference(vias_gen, (-5.47,-7.73), rotation=pi))
top.add(gdstk.Reference(vias_gen, (-1.57,-7.73), rotation=pi))
top.add(gdstk.Reference(vias_gen_6, (-7.835,2.26), rotation=3*pi/2))
top.add(gdstk.Reference(vias_gen_6, (-16.33,-1.74), rotation=pi/2))
top.add(gdstk.Reference(vias_gen, (-2.87,-7.73), rotation=pi))
top.add(gdstk.Reference(guard_ring_gen_1, (-6.835,-5.42), rotation=3*pi/2))
top.add(gdstk.Reference(vias_gen, (-0.27,-7.73), rotation=pi))
top.add(gdstk.Reference(pfet_1, (-6.165,5.86)))
top.add(gdstk.Reference(vias_gen, (-1.365,5.575), rotation=pi))
top.add(gdstk.Reference(vias_gen, (-2.665,5.575), rotation=pi))
top.add(gdstk.Reference(vias_gen, (-0.065,5.575), rotation=pi))
top.add(gdstk.Reference(mim_cap_3, (-9.2,-3.935), rotation=pi))
top.add(gdstk.Reference(nfet_3, (-6.37,-7.485)))
top.add(gdstk.Reference(mim_cap_3, (-9.2,2.765), rotation=pi))
top.add(gdstk.Reference(guard_ring_gen_3, (-6.835,9.125), rotation=3*pi/2))
top.add(gdstk.Reference(pfet_3, (5.47,0.655), rotation=3*pi/2, x_reflection=True))
top.add(gdstk.Reference(nfet_1, (5.47,-1.515), rotation=3*pi/2, x_reflection=True))
top.add(gdstk.Reference(vias_gen_8, (-1.895,4.89), rotation=pi))
top.add(gdstk.Reference(vias_gen, (-2.66,8.74), rotation=pi))
top.add(gdstk.Reference(vias_gen_10, (-2.17,-8.92), rotation=pi))
top.add(gdstk.Reference(vias_gen_8, (0.04,-5.635), rotation=pi))
top.add(gdstk.Reference(vias_gen_11, (2.83,-2.55), rotation=pi))
top.add(gdstk.Reference(vias_gen, (-3.965,5.575), rotation=pi))
top.add(gdstk.Reference(vias_gen, (-5.265,5.575), rotation=pi))
top.add(gdstk.Reference(mim_cap_3, (-15.865,-45.615), rotation=3*pi/2))
top.add(gdstk.Reference(mim_cap_3, (-15.865,-60.075), rotation=pi/2, x_reflection=True))
top.add(gdstk.Reference(mim_cap_3, (0.135,-44.075), rotation=pi/2, x_reflection=True))
top.add(gdstk.Reference(mim_cap_3, (-7.865,-44.075), rotation=pi/2, x_reflection=True))
top.add(gdstk.Reference(mim_cap_3, (-15.865,-44.075), rotation=pi/2, x_reflection=True))
top.add(gdstk.Reference(mim_cap_3, (0.135,-60.075), rotation=pi/2, x_reflection=True))
top.add(gdstk.Reference(mim_cap_3, (0.135,-29.615), rotation=3*pi/2))
top.add(gdstk.Reference(mim_cap_3, (-7.865,-29.615), rotation=3*pi/2))
top.add(gdstk.Reference(mim_cap_3, (-15.865,-29.615), rotation=3*pi/2))
top.add(gdstk.Reference(mim_cap_3, (-7.865,-60.075), rotation=pi/2, x_reflection=True))
top.add(gdstk.Reference(mim_cap_3, (-7.865,-28.075), rotation=pi/2, x_reflection=True))
top.add(gdstk.Reference(mim_cap_3, (-15.865,-28.075), rotation=pi/2, x_reflection=True))
top.add(gdstk.Reference(mim_cap_3, (0.135,-13.615), rotation=3*pi/2))
top.add(gdstk.Reference(mim_cap_3, (-7.865,-13.615), rotation=3*pi/2))
top.add(gdstk.Reference(mim_cap_3, (-15.865,-13.615), rotation=3*pi/2))
top.add(gdstk.Reference(mim_cap_3, (0.135,-28.075), rotation=pi/2, x_reflection=True))
top.add(gdstk.Reference(mim_cap_3, (0.135,-45.615), rotation=3*pi/2))
top.add(gdstk.Reference(mim_cap_3, (-7.865,-45.615), rotation=3*pi/2))
top.add(gdstk.Reference(mim_cap_3, (24.135,-44.075), rotation=pi/2, x_reflection=True))
top.add(gdstk.Reference(mim_cap_3, (16.135,-44.075), rotation=pi/2, x_reflection=True))
top.add(gdstk.Reference(mim_cap_3, (24.135,-60.075), rotation=pi/2, x_reflection=True))
top.add(gdstk.Reference(mim_cap_3, (16.135,-60.075), rotation=pi/2, x_reflection=True))
top.add(gdstk.Reference(mim_cap_3, (24.135,-45.615), rotation=3*pi/2))
top.add(gdstk.Reference(mim_cap_3, (16.135,-45.615), rotation=3*pi/2))
top.add(gdstk.Reference(mim_cap_3, (24.135,-29.615), rotation=3*pi/2))
top.add(gdstk.Reference(mim_cap_3, (16.135,-29.615), rotation=3*pi/2))
top.add(gdstk.Reference(mim_cap_3, (8.135,-60.075), rotation=pi/2, x_reflection=True))
top.add(gdstk.Reference(mim_cap_3, (16.135,-28.075), rotation=pi/2, x_reflection=True))
top.add(gdstk.Reference(mim_cap_3, (24.135,-13.615), rotation=3*pi/2))
top.add(gdstk.Reference(mim_cap_3, (8.135,-28.075), rotation=pi/2, x_reflection=True))
top.add(gdstk.Reference(mim_cap_3, (16.135,-13.615), rotation=3*pi/2))
top.add(gdstk.Reference(mim_cap_3, (8.135,-13.615), rotation=3*pi/2))
top.add(gdstk.Reference(mim_cap_3, (24.135,-28.075), rotation=pi/2, x_reflection=True))
top.add(gdstk.Reference(mim_cap_3, (8.135,-45.615), rotation=3*pi/2))
top.add(gdstk.Reference(mim_cap_3, (8.135,-44.075), rotation=pi/2, x_reflection=True))
top.add(gdstk.Reference(mim_cap_3, (8.135,-29.615), rotation=3*pi/2))

lib.write_gds('TOP.gds')
